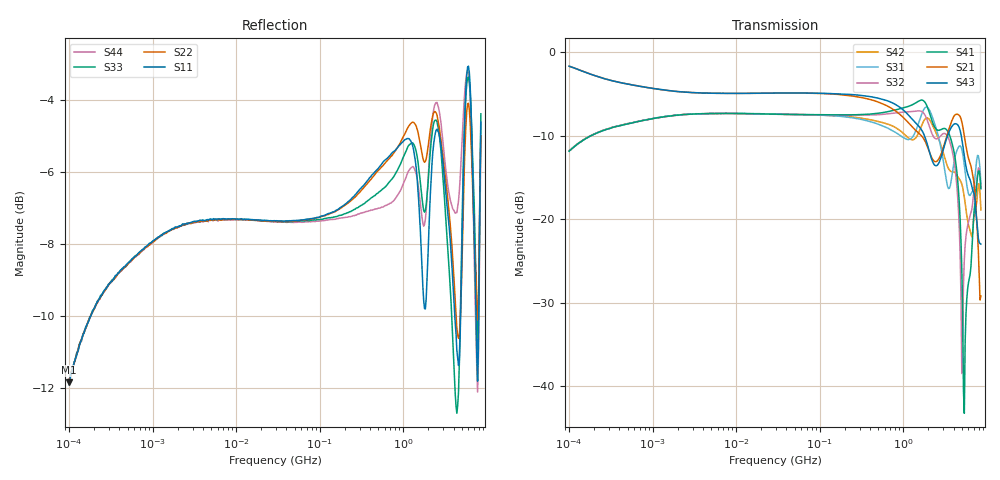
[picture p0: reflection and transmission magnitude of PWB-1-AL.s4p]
# MHz S MA R 50
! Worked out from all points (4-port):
!   498 points, 100 kHz to 8.5 GHz, reference 50 ohm
!   strongest paths, dB at 100 kHz, 1.698 MHz, 29.49 MHz, 500.7 MHz, 8.5 GHz:
!     S43: -1.7, -4.7, -4.9, -5.5, -23.0
!     S21: -1.7, -4.7, -4.9, -6.0, -29.2
!     S41: -11.9, -7.6, -7.4, -7.3, -16.4
!     S32: -11.8, -7.6, -7.4, -7.5, -16.2
!     S31: -11.9, -7.6, -7.4, -8.6, -15.8
!     S42: -11.8, -7.6, -7.4, -8.3, -18.9
!   lowest |S11| = -11.8 dB at 100 kHz (marker M1), VSWR 1.69, Z = 68.5 + j24.9 ohm
!   |S11| at or under -10 dB: start of sweep to 181.2 kHz; 4.142 GHz to 4.861 GHz (718.8 MHz wide, 16 % of centre); 7.437 GHz to 8.012 GHz (574.1 MHz wide, 7.43 % of centre)
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0.1  0.2559 41.6  0.8224 -12.0  0.2553 42.5  0.2548 -137.7
     0.8224 -12.0  0.2582 42.8  0.2563 -138.2  0.2572 41.7
     0.2553 42.5  0.2563 -138.2  0.2541 41.5  0.8231 -12.1
     0.2548 -137.7  0.2572 41.7  0.8231 -12.1  0.2586 42.5
372.0534  0.4874 -28.2  0.5247 -62.0  0.3872 -42.0  0.4239 110.4
          0.5247 -62.0  0.4826 -25.7  0.4194 112.4  0.3967 -42.7
          0.3872 -42.0  0.4194 112.4  0.4567 -28.8  0.5439 -58.2
          0.4239 110.4  0.3967 -42.7  0.5439 -58.2  0.442 -29.7
1568.416  0.4356 -158.5  0.3235 95.8  0.3913 -134.6  0.5114 -89.6
          0.3235 95.8  0.5548 -145.9  0.4446 -84.9  0.3386 -146.6
          0.3913 -134.6  0.4446 -84.9  0.4957 -146.9  0.3551 101.9
          0.5114 -89.6  0.3386 -146.6  0.3551 101.9  0.4633 -143.1
2533.649  0.5744 -175.0  0.2223 -95.8  0.3355 98.4  0.3421 135.7
          0.2223 -95.8  0.6013 166.6  0.3026 150.0  0.3188 93.9
          0.3355 98.4  0.3026 150.0  0.5881 175.2  0.2094 -88.3
          0.3421 135.7  0.3188 93.9  0.2094 -88.3  0.6255 -177.8
5383.342  0.5632 -72.9  0.3152 -126.9  0.2109 -158.9  0.006887 -56.1
          0.3152 -126.9  0.5073 -88.5  0.05703 -81.7  0.1349 167.4
          0.2109 -158.9  0.05703 -81.7  0.5703 -75.3  0.2387 -122.8
          0.006887 -56.1  0.1349 167.4  0.2387 -122.8  0.6336 -85.5
6920.76  0.4512 -159.7  0.1733 61.9  0.15 75.9  0.0977 153.0
         0.1733 61.9  0.4417 -164.1  0.1388 125.6  0.09556 47.8
         0.15 75.9  0.1388 125.6  0.4843 -163.3  0.1458 88.2
         0.0977 153.0  0.09556 47.8  0.1458 88.2  0.4394 -164.9
8500  0.5874 -27.8  0.03467 -78.0  0.163 -115.8  0.152 -73.7
      0.03467 -78.0  0.5624 -37.3  0.1545 -82.4  0.1135 -152.1
      0.163 -115.8  0.1545 -82.4  0.6032 -33.2  0.07092 -59.5
      0.152 -73.7  0.1135 -152.1  0.07092 -59.5  0.5572 -28.7
